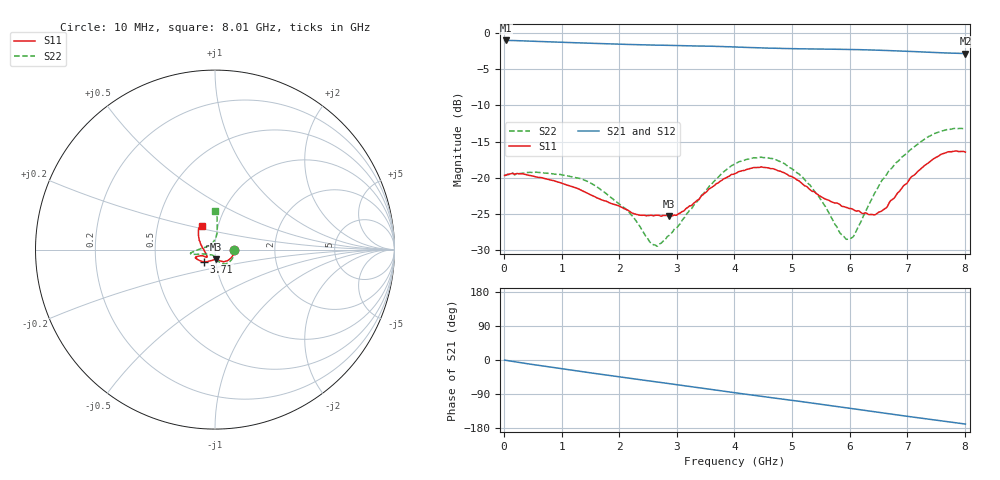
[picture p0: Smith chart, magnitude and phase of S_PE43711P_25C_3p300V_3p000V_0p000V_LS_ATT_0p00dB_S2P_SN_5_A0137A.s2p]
! Device ID: PE43711P
! File Path: z:\PE43711P\CHAR_NOM_04282014\AMB\3p300\LS_ATT_0p00dB\PE43711P_AMB_3p300V_3p000V_0p000V_LS_ATT_0p00dB_S2P_SN_5_A0137A.s2p
! Serial: 5
! Lot: A0137A
! Temp: 25C
! VDD: 3.300
! VSS: 0.000
! Control_Hi: 3.000
! Control_Lo: 0.000
! Attenuation Step: 0.00dB
! Port 1: RF1
! Port 2: RF2
! ThroughPath:1-2
! IDD: 0.000127623
! ISS: -1.669e-007
#  Hz  S  RI  R  50
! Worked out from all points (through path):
!   801 points, 10 MHz to 8.01 GHz, reference 50 ohm
!   highest |S21| = -1.00 dB at 40 MHz (marker M1); lowest = -2.8 dB at 8.01 GHz (marker M2)
!   group delay of S21, straight-line fit = 58.1 ps
!   lowest |S11| = -25.3 dB at 2.86 GHz (marker M3), VSWR 1.11, Z = 50.2 - j5.43 ohm
!   |S11| at or under -10 dB: start of sweep to end of sweep
!   |S22| runs from -29.5 to -13.2 dB; largest |S21 - S12| = 0.0014
!   S11 on the Smith chart (normalised r, x): 10 MHz: 1.23, -0.00; 3.71 GHz: 0.88, -0.12; 8.01 GHz: 0.84, +0.23
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1e7  0.1037 -0.000549  0.8912 -0.00424  0.8914 -0.00453  0.1037 -0.000896
4e7  0.1042 -0.00185  0.8913 -0.0152  0.8912 -0.0154  0.1047 -0.00209
3.6e8  0.1011 -0.0301  0.8746 -0.1351  0.8742 -0.1348  0.1022 -0.0339
1.35e9  0.0458 -0.0672  0.7371 -0.4368  0.7372 -0.4367  0.0554 -0.0808
2.09e9  0.0187 -0.058  0.579 -0.6062  0.5791 -0.6063  0.00959 -0.0611
2.54e9  0.0157 -0.0526  0.4682 -0.6841  0.4683 -0.6841  -0.00758 -0.0347
2.68e9  0.0128 -0.0534  0.4322 -0.7048  0.4325 -0.7051  -0.0159 -0.03
2.86e9  0.00477 -0.0539  0.3846 -0.7295  0.3845 -0.7297  -0.0278 -0.0283
3.1e9  -0.00916 -0.0577  0.3171 -0.7568  0.3173 -0.7574  -0.0441 -0.0261
3.71e9  -0.0623 -0.0671  0.1401 -0.799  0.1402 -0.799  -0.0965 -0.0256
4.01e9  -0.0888 -0.0596  0.0498 -0.8017  0.0495 -0.8024  -0.1219 -0.0268
4.69e9  -0.1064 -0.0422  -0.1405 -0.7744  -0.1408 -0.7745  -0.1331 -0.0175
5.03e9  -0.0928 -0.037  -0.2296 -0.7473  -0.2301 -0.7473  -0.1125 -0.00791
5.35e9  -0.0734 -0.0332  -0.312 -0.7131  -0.3121 -0.7139  -0.0845 0.00219
5.84e9  -0.0483 -0.043  -0.4316 -0.6423  -0.4313 -0.6424  -0.035 0.0216
5.98e9  -0.0451 -0.0419  -0.4627 -0.6178  -0.463 -0.6186  -0.0216 0.0308
6.09e9  -0.0439 -0.0398  -0.4867 -0.5968  -0.4872 -0.5976  -0.0121 0.0389
6.42e9  -0.0509 -0.0216  -0.5527 -0.5283  -0.5529 -0.529  0.00771 0.0756
6.68e9  -0.066 0.00514  -0.5966 -0.4694  -0.5962 -0.4699  0.0112 0.1107
7.07e9  -0.0876 0.0504  -0.6485 -0.373  -0.6485 -0.3731  0.0111 0.1572
7.45e9  -0.0926 0.0978  -0.6818 -0.2768  -0.6821 -0.2769  0.00635 0.2
8.01e9  -0.0718 0.132  -0.7107 -0.1378  -0.7115 -0.1367  -0.00172 0.2173
